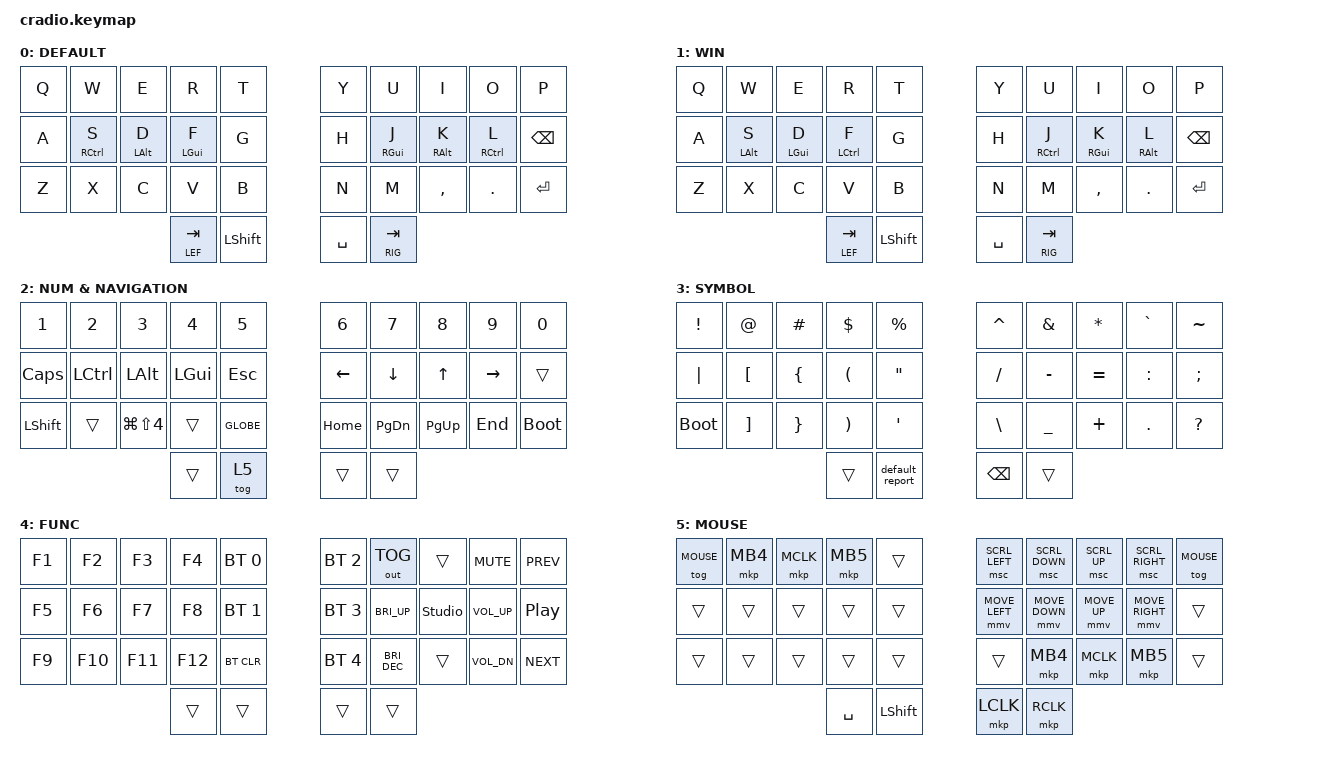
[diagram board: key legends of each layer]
// Copyright (c) 2022 The ZMK Contributors
// SPDX-License-Identifier: MIT

#define ZMK_POINTING_DEFAULT_MOVE_VAL 2500  // 600
#define ZMK_POINTING_DEFAULT_SCRL_VAL 20    // 10

#include "behaviors/character_map.dtsi"
#include "behaviors/send_string.dtsi"
#include "behaviors/report.dtsi"
#include <behaviors.dtsi>
#include <dt-bindings/zmk/bt.h>
#include <dt-bindings/zmk/keys.h>
#include <dt-bindings/zmk/outputs.h>
#include <dt-bindings/zmk/pointing.h>

#define MAC 0
#define WIN 1
#define RIG 2
#define LEF 3
#define TRI 4
#define MOUSE 5

// https://zmk.dev/docs/development/hardware-integration/soft-off-setup?advanced-methods=wakeup&kscan-type=dkscan

/ {
    keys {
        compatible = "gpio-keys";

        soft_off_gpio_key: soft_off_gpio_key { gpios = <&gpio1 6 (GPIO_ACTIVE_LOW | GPIO_PULL_UP)>; };
    };

    wakeup_scan: wakeup_scan {
        compatible = "zmk,kscan-gpio-direct";
        input-keys = <&soft_off_gpio_key>;
        wakeup-source;
    };

    side_band_behavior_triggers: side_band_behavior_triggers {
        compatible = "zmk,kscan-sideband-behaviors";
        kscan = <&wakeup_scan>;
        auto-enable;
        wakeup-source;
    };

    soft_off_wakers {
        compatible = "zmk,soft-off-wakeup-sources";
        wakeup-sources = <&wakeup_scan>;
    };
};

/ {
    vbatt: vbatt { compatible = "zmk,battery-nrf-vddh"; };

    chosen {
        zmk,charmap = &charmap_us;
        zmk,battery = &vbatt;
    };

    behaviors {
        ht: hold_tap {
            display-name = "hold_tap";
            compatible = "zmk,behavior-hold-tap";
            #binding-cells = <2>;
            flavor = "balanced";
            tapping-term-ms = <200>;
            quick-tap-ms = <150>;
            bindings = <&kp>, <&kp>;
        };

        mmv {
            acceleration-exponent = <1>;      // 1
            time-to-max-speed-ms = <300>;    // 40
            delay-ms = <0>;                   // 0
        };

        msc {
            acceleration-exponent = <0>;      // 0
            time-to-max-speed-ms = <40>;      // 500
            delay-ms = <0>;                   // 10
        };
    };

    conditional_layers {
        compatible = "zmk,conditional-layers";

        tri_layer {
            if-layers = <RIG LEF>;
            then-layer = <TRI>;
        };
    };

    combos {
        compatible = "zmk,combos";

        combo_esc {
            bindings = <&kp ESC>;
            key-positions = <16 17>;
        };
    };

    keymap {
        compatible = "zmk,keymap";

        default_layer {
            display-name = "DEFAULT";
            bindings = <
&kp Q  &kp W        &kp E       &kp R        &kp T         &kp Y      &kp U        &kp I       &kp O        &kp P
&kp A  &ht RCTRL S  &ht LALT D  &ht LGUI F   &kp G         &kp H      &ht RGUI J   &ht RALT K  &ht RCTRL L  &kp BSPC
&kp Z  &kp X        &kp C       &kp V        &kp B         &kp N      &kp M        &kp COMMA   &kp DOT      &kp ENTER
                                &lt LEF TAB  &kp LSHIFT    &kp SPACE  &lt RIG TAB
            >;
        };

        windows_layer {
            display-name = "WIN";
            bindings = <
&kp Q  &kp W       &kp E       &kp R        &kp T         &kp Y      &kp U        &kp I       &kp O       &kp P
&kp A  &ht LALT S  &ht LGUI D  &ht LCTRL F  &kp G         &kp H      &ht RCTRL J  &ht RGUI K  &ht RALT L  &kp BSPC
&kp Z  &kp X       &kp C       &kp V        &kp B         &kp N      &kp M        &kp COMMA   &kp DOT     &kp ENTER
                               &lt LEF TAB  &kp LSHIFT    &kp SPACE  &lt RIG TAB
            >;
        };

        right_layer {
            display-name = "NUM & NAVIGATION";
            bindings = <
&kp N1      &kp N2     &kp N3          &kp N4    &kp N5       &kp N6    &kp N7     &kp N8     &kp N9     &kp N0
&kp CAPS    &kp LCTRL  &kp LALT        &kp LGUI  &kp ESC      &kp LEFT  &kp DOWN   &kp UP     &kp RIGHT  &trans
&kp LSHIFT  &trans     &kp LG(LS(N4))  &trans    &kp GLOBE    &kp HOME  &kp PG_DN  &kp PG_UP  &kp END    &bootloader
                                       &trans    &tog 5       &trans    &trans
            >;
        };

        left_layer {
            display-name = "SYMBOL";
            bindings = <
&kp EXCL     &kp AT    &kp HASH  &kp DLLR  &kp PRCNT          &kp CARET      &kp AMPS   &kp ASTRK  &kp GRAVE  &kp TILDE
&kp PIPE     &kp LBKT  &kp LBRC  &kp LPAR  &kp DQT            &kp SLASH      &kp MINUS  &kp EQUAL  &kp COLON  &kp SEMI
&bootloader  &kp RBKT  &kp RBRC  &kp RPAR  &kp SQT            &kp BSLH       &kp UNDER  &kp PLUS   &kp DOT    &kp QMARK
                                 &trans    &default_report    &kp BACKSPACE  &trans
            >;
        };

        tri_layer {
            display-name = "FUNC";
            bindings = <
&kp F1  &kp F2   &kp F3   &kp F4   &bt BT_SEL 0    &bt BT_SEL 2  &out OUT_TOG   &trans          &kp C_MUTE    &kp C_PREV
&kp F5  &kp F6   &kp F7   &kp F8   &bt BT_SEL 1    &bt BT_SEL 3  &kp C_BRI_UP   &studio_unlock  &kp C_VOL_UP  &kp C_PP
&kp F9  &kp F10  &kp F11  &kp F12  &bt BT_CLR      &bt BT_SEL 4  &kp C_BRI_DEC  &trans          &kp C_VOL_DN  &kp C_NEXT
                          &trans   &trans          &trans        &trans
            >;
        };

        mouse {
            display-name = "MOUSE";
            bindings = <
&tog MOUSE  &mkp MB4  &mkp MCLK  &mkp MB5   &trans        &msc SCRL_LEFT  &msc SCRL_DOWN  &msc SCRL_UP  &msc SCRL_RIGHT  &tog MOUSE
&trans      &trans    &trans     &trans     &trans        &mmv MOVE_LEFT  &mmv MOVE_DOWN  &mmv MOVE_UP  &mmv MOVE_RIGHT  &trans
&trans      &trans    &trans     &trans     &trans        &trans          &mkp MB4        &mkp MCLK     &mkp MB5         &trans
                                 &kp SPACE  &kp LSHIFT    &mkp LCLK       &mkp RCLK
            >;
        };
    };
};
